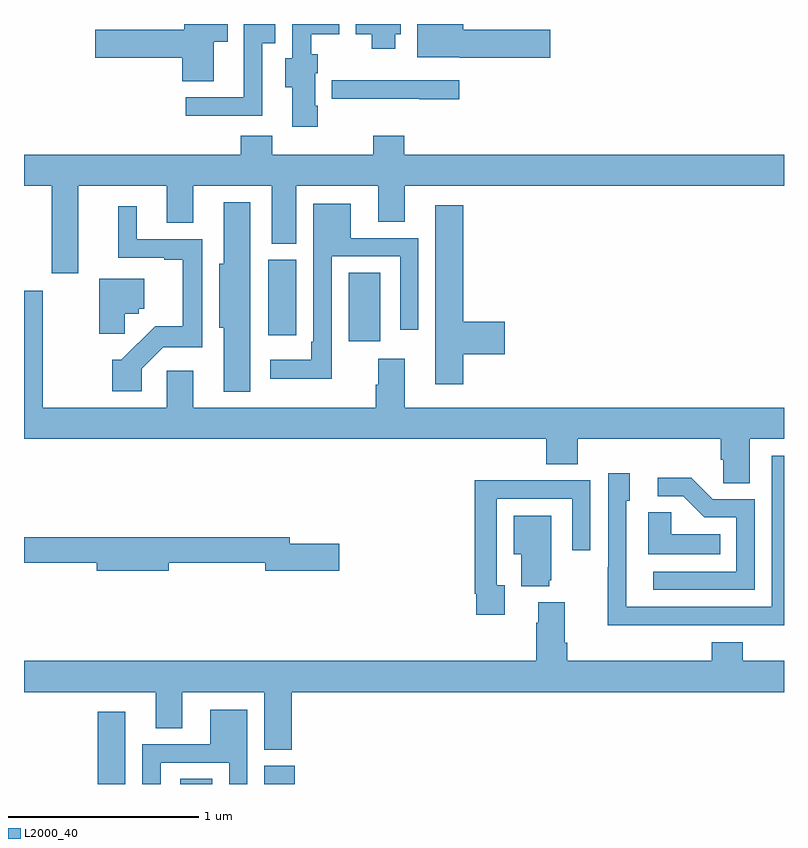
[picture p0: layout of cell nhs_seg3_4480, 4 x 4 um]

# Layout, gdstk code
import gdstk
lib = gdstk.Library(unit=1e-6, precision=1e-09)
def R(c, l, rs):  # rectangles x0, y0, x1, y1
    for r in rs: c.add(gdstk.rectangle(r[:2], r[2:], *l))
def P(c, l, *ps):  # polygons
    for p in ps: c.add(gdstk.Polygon(p, *l))
L2000_40 = (2000, 40)

nhs_seg3_4480 = lib.new_cell('nhs_seg3_4480')
R(nhs_seg3_4480, L2000_40, [(349.388,732.4,349.534,732.781), (349.823,732.4,349.99,732.428), (350.264,732.4,350.426,732.495), (350.708,734.73,350.875,735.092), (350.285,734.763,350.434,735.159)])
P(nhs_seg3_4480, L2000_40, [(350.545,735.97),(350.533,735.97),(350.533,736.142),(350.546,736.142),(350.546,736.242),(350.511,736.242),(350.511,736.346),(350.658,736.346),(350.658,736.4),(350.412,736.4),(350.412,736.221),(350.375,736.221),(350.375,736.066),(350.411,736.066),(350.411,735.858),(350.545,735.858)],
  [(350.253,736.3),(350.323,736.3),(350.323,736.4),(350.157,736.4),(350.157,736.211),(350.156,736.211),(350.156,736.014),(349.851,736.014),(349.851,735.918),(350.253,735.918)],
  [(351.769,736.37),(351.311,736.37),(351.311,736.4),(351.071,736.4),(351.071,736.226),(351.294,736.226),(351.294,736.223),(351.769,736.223)],
  [(349.999,736.307),(350.072,736.307),(350.072,736.4),(349.844,736.4),(349.844,736.37),(349.374,736.37),(349.374,736.223),(349.832,736.223),(349.832,736.099),(349.999,736.099)],
  [(350.953,736.346),(350.983,736.346),(350.983,736.4),(350.747,736.4),(350.747,736.346),(350.831,736.346),(350.831,736.271),(350.953,736.271)],
  [(351.292,736.104),(350.949,736.104),(350.949,736.105),(350.619,736.105),(350.619,736.007),(351.079,736.007),(351.079,736.003),(351.292,736.003)],
  [(350.141,735.712),(349,735.712),(349,735.548),(349.145,735.548),(349.145,735.087),(349.285,735.087),(349.285,735.548),(349.751,735.548),(349.751,735.354),(349.891,735.354),(349.891,735.548),(350.303,735.548),(350.303,735.244),(350.434,735.244),(350.434,735.548),(350.864,735.548),(350.864,735.358),(351.004,735.358),(351.004,735.548),(353,735.548),(353,735.712),(351.002,735.712),(351.002,735.811),(350.837,735.811),(350.837,735.712),(350.306,735.712),(350.306,735.811),(350.141,735.811)],
  [(350.191,735.463),(350.051,735.463),(350.051,735.138),(350.027,735.138),(350.027,734.802),(350.051,734.802),(350.051,734.465),(350.191,734.465)],
  [(350.619,735.177),(350.979,735.177),(350.979,734.79),(351.075,734.79),(351.075,735.273),(350.719,735.273),(350.719,735.454),(350.523,735.454),(350.523,734.728),(350.511,734.728),(350.511,734.632),(350.295,734.632),(350.295,734.534),(350.619,734.534)],
  [(351.311,734.663),(351.529,734.663),(351.529,734.834),(351.311,734.834),(351.311,735.445),(351.164,735.445),(351.164,734.505),(351.311,734.505)],
  [(349.62,734.586),(349.734,734.7),(349.939,734.7),(349.939,735.267),(349.594,735.267),(349.594,735.442),(349.496,735.442),(349.496,735.171),(349.739,735.171),(349.739,735.159),(349.835,735.159),(349.835,734.81),(349.691,734.81),(349.513,734.632),(349.465,734.632),(349.465,734.466),(349.62,734.466)],
  [(349.529,734.874),(349.605,734.874),(349.605,734.901),(349.633,734.901),(349.633,735.058),(349.397,735.058),(349.397,734.769),(349.529,734.769)],
  [(352.819,734.216),(353,734.216),(353,734.38),(351.004,734.38),(351.004,734.638),(350.864,734.638),(350.864,734.501),(350.852,734.501),(350.852,734.38),(349.891,734.38),(349.891,734.575),(349.752,734.575),(349.752,734.38),(349.099,734.38),(349.099,734.995),(349,734.995),(349,734.216),(351.749,734.216),(351.749,734.083),(351.914,734.083),(351.914,734.216),(352.667,734.216),(352.667,734.107),(352.68,734.107),(352.68,733.984),(352.819,733.984)],
  [(352.535,733.236),(353,733.236),(353,734.127),(352.935,734.127),(352.935,733.332),(352.17,733.332),(352.17,733.89),(352.189,733.89),(352.189,734.035),(352.074,734.035),(352.074,733.541),(352.072,733.541),(352.072,733.235),(352.535,733.235)],
  [(352.845,733.899),(352.626,733.899),(352.513,734.012),(352.335,734.012),(352.335,733.914),(352.469,733.914),(352.58,733.803),(352.749,733.803),(352.749,733.518),(352.311,733.518),(352.311,733.422),(352.845,733.422)],
  [(351.529,733.446),(351.489,733.446),(351.489,733.902),(351.885,733.902),(351.885,733.629),(351.981,733.629),(351.981,733.998),(351.665,733.998),(351.665,734),(351.373,734),(351.373,733.402),(351.381,733.402),(351.381,733.29),(351.529,733.29)],
  [(352.664,733.714),(352.407,733.714),(352.407,733.829),(352.286,733.829),(352.286,733.61),(352.664,733.61)],
  [(351.764,733.473),(351.775,733.473),(351.775,733.813),(351.578,733.813),(351.578,733.61),(351.617,733.61),(351.617,733.442),(351.764,733.442)],
  [(349.762,733.564),(350.27,733.564),(350.27,733.522),(350.659,733.522),(350.659,733.664),(350.398,733.664),(350.398,733.7),(349,733.7),(349,733.564),(349.382,733.564),(349.382,733.522),(349.762,733.522)],
  [(350.408,732.884),(353,732.884),(353,733.048),(352.784,733.048),(352.784,733.147),(352.619,733.147),(352.619,733.048),(351.86,733.048),(351.86,733.144),(351.847,733.144),(351.847,733.357),(351.707,733.357),(351.707,733.25),(351.695,733.25),(351.695,733.048),(349,733.048),(349,732.884),(349.694,732.884),(349.694,732.694),(349.834,732.694),(349.834,732.884),(350.264,732.884),(350.264,732.58),(350.408,732.58)],
  [(349.719,732.513),(350.079,732.513),(350.079,732.4),(350.175,732.4),(350.175,732.79),(349.979,732.79),(349.979,732.609),(349.623,732.609),(349.623,732.4),(349.719,732.4)])

lib.write_gds('nhs_seg3_4480.gds')
